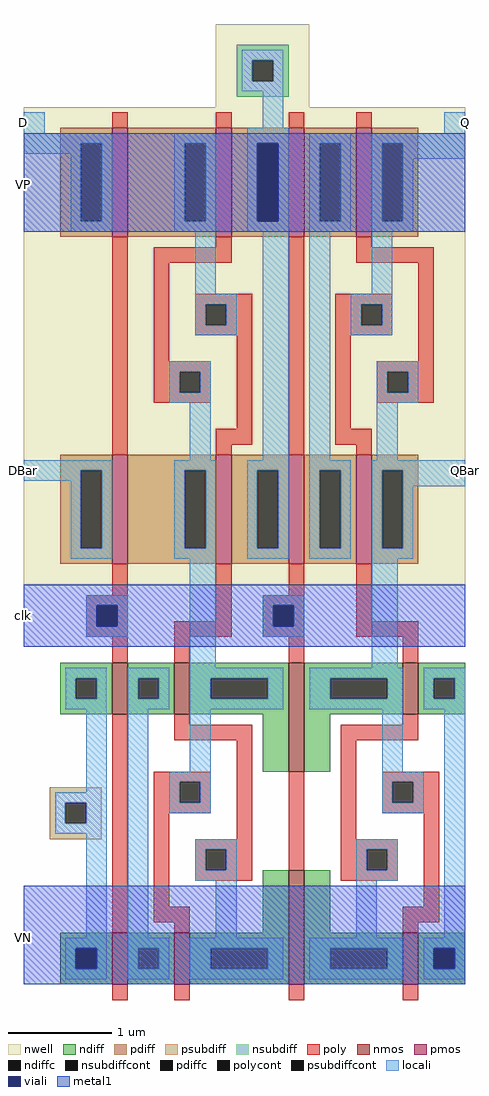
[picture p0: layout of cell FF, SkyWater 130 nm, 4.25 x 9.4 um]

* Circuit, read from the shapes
.subckt FF VP D Q QBar DBar clk VN
XM1 n1 clk VN VN sky130_fd_pr__nfet_01v8 w=0.5 l=0.15 m=2
XM2 n2 n3 n1 VN sky130_fd_pr__nfet_01v8 w=0.5 l=0.15
XM3 n3 n2 n1 VN sky130_fd_pr__nfet_01v8 w=0.5 l=0.15
XM4 Q clk n2 VN sky130_fd_pr__nfet_01v8 w=1.1 l=0.15
XM5 QBar clk n3 VN sky130_fd_pr__nfet_01v8 w=1.05 l=0.15
XM6 VN QBar Q VN sky130_fd_pr__nfet_01v8 w=0.5 l=0.15
XM7 VN Q QBar VN sky130_fd_pr__nfet_01v8 w=0.5 l=0.15
XM8 n3 clk DBar VP sky130_fd_pr__pfet_01v8 w=1.05 l=0.15
XM9 n2 clk D VP sky130_fd_pr__pfet_01v8 w=1.05 l=0.15
XM10 VP n2 n3 VP sky130_fd_pr__pfet_01v8 w=1.05 l=0.15
XM11 VP n3 n2 VP sky130_fd_pr__pfet_01v8 w=1.05 l=0.15
XM12 n4 clk VP VP sky130_fd_pr__pfet_01v8 w=1.05 l=0.15 m=2
XM13 QBar Q n4 VP sky130_fd_pr__pfet_01v8 w=1.05 l=0.15
XM14 Q QBar n4 VP sky130_fd_pr__pfet_01v8 w=1.05 l=0.15
.ends

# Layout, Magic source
magic
tech sky130A
<< nwell >>
rect 90 530 180 610
rect -95 70 330 530
<< nmos >>
rect -10 -55 5 -5
rect 50 -55 65 -5
rect 160 -110 175 -5
rect 270 -55 285 -5
rect -10 -315 5 -265
rect 50 -315 65 -265
rect 160 -315 175 -205
rect 270 -315 285 -265
<< pmos >>
rect -10 405 5 510
rect 90 405 105 510
rect 160 405 175 510
rect 225 405 240 510
rect -10 90 5 195
rect 90 90 105 195
rect 160 90 175 195
rect 225 90 240 195
<< ndiff >>
rect -60 -20 -10 -5
rect -60 -40 -45 -20
rect -25 -40 -10 -20
rect -60 -55 -10 -40
rect 5 -20 50 -5
rect 5 -40 15 -20
rect 35 -40 50 -20
rect 5 -55 50 -40
rect 65 -20 160 -5
rect 65 -40 85 -20
rect 140 -40 160 -20
rect 65 -55 160 -40
rect 135 -110 160 -55
rect 175 -20 270 -5
rect 175 -40 200 -20
rect 255 -40 270 -20
rect 175 -55 270 -40
rect 285 -20 330 -5
rect 285 -40 300 -20
rect 320 -40 330 -20
rect 285 -55 330 -40
rect 175 -110 200 -55
rect 135 -265 160 -205
rect -60 -280 -10 -265
rect -60 -300 -45 -280
rect -25 -300 -10 -280
rect -60 -315 -10 -300
rect 5 -280 50 -265
rect 5 -300 15 -280
rect 35 -300 50 -280
rect 5 -315 50 -300
rect 65 -280 160 -265
rect 65 -300 85 -280
rect 140 -300 160 -280
rect 65 -315 160 -300
rect 175 -265 200 -205
rect 175 -280 270 -265
rect 175 -300 200 -280
rect 255 -300 270 -280
rect 175 -315 270 -300
rect 285 -280 330 -265
rect 285 -300 300 -280
rect 320 -300 330 -280
rect 285 -315 330 -300
<< pdiff >>
rect -60 495 -10 510
rect -60 420 -40 495
rect -20 420 -10 495
rect -60 405 -10 420
rect 5 495 90 510
rect 5 420 60 495
rect 80 420 90 495
rect 5 405 90 420
rect 105 495 160 510
rect 105 420 130 495
rect 150 420 160 495
rect 105 405 160 420
rect 175 495 225 510
rect 175 420 190 495
rect 210 420 225 495
rect 175 405 225 420
rect 240 495 285 510
rect 240 420 250 495
rect 270 420 285 495
rect 240 405 285 420
rect -60 180 -10 195
rect -60 105 -40 180
rect -20 105 -10 180
rect -60 90 -10 105
rect 5 180 90 195
rect 5 105 60 180
rect 80 105 90 180
rect 5 90 90 105
rect 105 180 160 195
rect 105 105 130 180
rect 150 105 160 180
rect 105 90 160 105
rect 175 180 225 195
rect 175 105 190 180
rect 210 105 225 180
rect 175 90 225 105
rect 240 180 285 195
rect 240 105 250 180
rect 270 105 285 180
rect 240 90 285 105
<< ndiffc >>
rect -45 -40 -25 -20
rect 15 -40 35 -20
rect 85 -40 140 -20
rect 200 -40 255 -20
rect 300 -40 320 -20
rect -45 -300 -25 -280
rect 15 -300 35 -280
rect 85 -300 140 -280
rect 200 -300 255 -280
rect 300 -300 320 -280
<< pdiffc >>
rect -40 420 -20 495
rect 60 420 80 495
rect 130 420 150 495
rect 190 420 210 495
rect 250 420 270 495
rect -40 105 -20 180
rect 60 105 80 180
rect 130 105 150 180
rect 190 105 210 180
rect 250 105 270 180
<< psubdiff >>
rect -70 -140 -20 -125
rect -70 -160 -55 -140
rect -35 -160 -20 -140
rect -70 -175 -20 -160
<< nsubdiff >>
rect 110 575 160 590
rect 110 555 125 575
rect 145 555 160 575
rect 110 540 160 555
<< psubdiffcont >>
rect -55 -160 -35 -140
<< nsubdiffcont >>
rect 125 555 145 575
<< poly >>
rect -10 510 5 525
rect 90 510 105 525
rect 160 510 175 525
rect 225 510 240 525
rect -10 195 5 405
rect 90 395 105 405
rect 30 380 105 395
rect 30 285 45 380
rect 70 340 125 350
rect 70 320 80 340
rect 100 320 125 340
rect 70 310 125 320
rect 30 275 85 285
rect 30 255 55 275
rect 75 255 85 275
rect 30 245 85 255
rect 110 220 125 310
rect 90 205 125 220
rect 90 195 105 205
rect 160 195 175 405
rect 225 395 240 405
rect 225 380 300 395
rect 205 340 260 350
rect 205 320 230 340
rect 250 320 260 340
rect 205 310 260 320
rect 205 220 220 310
rect 285 285 300 380
rect 245 275 300 285
rect 245 255 255 275
rect 275 255 300 275
rect 245 245 300 255
rect 205 205 240 220
rect 225 195 240 205
rect -10 60 5 90
rect -35 50 5 60
rect -35 30 -25 50
rect -5 30 5 50
rect 90 35 105 90
rect 160 60 175 90
rect -35 20 5 30
rect -10 -5 5 20
rect 50 20 105 35
rect 135 50 175 60
rect 135 30 145 50
rect 165 30 175 50
rect 135 20 175 30
rect 225 35 240 90
rect 225 20 285 35
rect 50 -5 65 20
rect 160 -5 175 20
rect 270 -5 285 20
rect -10 -265 5 -55
rect 50 -65 65 -55
rect 50 -80 125 -65
rect 30 -120 85 -110
rect 30 -140 55 -120
rect 75 -140 85 -120
rect 30 -150 85 -140
rect 30 -240 45 -150
rect 110 -175 125 -80
rect 270 -65 285 -55
rect 210 -80 285 -65
rect 70 -185 125 -175
rect 70 -205 80 -185
rect 100 -205 125 -185
rect 160 -205 175 -110
rect 210 -175 225 -80
rect 250 -120 305 -110
rect 250 -140 260 -120
rect 280 -140 305 -120
rect 250 -150 305 -140
rect 210 -185 265 -175
rect 210 -205 235 -185
rect 255 -205 265 -185
rect 70 -215 125 -205
rect 30 -255 65 -240
rect 50 -265 65 -255
rect 210 -215 265 -205
rect 290 -240 305 -150
rect 270 -255 305 -240
rect 270 -265 285 -255
rect -10 -330 5 -315
rect 50 -330 65 -315
rect 160 -330 175 -315
rect 270 -330 285 -315
<< polycont >>
rect 80 320 100 340
rect 55 255 75 275
rect 230 320 250 340
rect 255 255 275 275
rect -25 30 -5 50
rect 145 30 165 50
rect 55 -140 75 -120
rect 80 -205 100 -185
rect 260 -140 280 -120
rect 235 -205 255 -185
<< locali >>
rect 115 575 155 585
rect 115 555 125 575
rect 145 555 155 575
rect 115 545 155 555
rect -95 505 -75 525
rect 135 510 155 545
rect -95 495 -10 505
rect -95 485 -40 495
rect -50 420 -40 485
rect -20 420 -10 495
rect -50 410 -10 420
rect 50 495 90 505
rect 50 420 60 495
rect 80 420 90 495
rect 50 410 90 420
rect 120 495 160 510
rect 310 505 330 525
rect 120 420 130 495
rect 150 420 160 495
rect 120 410 160 420
rect 70 350 90 410
rect 70 340 110 350
rect 70 320 80 340
rect 100 320 110 340
rect 70 310 110 320
rect 45 275 85 285
rect 45 255 55 275
rect 75 255 85 275
rect 45 245 85 255
rect 65 190 85 245
rect 135 190 160 410
rect -95 180 -10 190
rect -95 170 -40 180
rect -50 105 -40 170
rect -20 105 -10 180
rect -50 95 -10 105
rect 50 180 90 190
rect 50 105 60 180
rect 80 105 90 180
rect 50 95 90 105
rect 120 180 160 190
rect 120 105 130 180
rect 150 105 160 180
rect 120 95 160 105
rect 180 495 220 505
rect 180 420 190 495
rect 210 420 220 495
rect 180 410 220 420
rect 240 495 330 505
rect 240 420 250 495
rect 270 480 330 495
rect 270 420 280 480
rect 240 410 280 420
rect 180 190 200 410
rect 240 350 260 410
rect 220 340 260 350
rect 220 320 230 340
rect 250 320 260 340
rect 220 310 260 320
rect 245 275 285 285
rect 245 255 255 275
rect 275 255 285 275
rect 245 245 285 255
rect 245 190 265 245
rect 180 180 220 190
rect 180 105 190 180
rect 210 105 220 180
rect 180 95 220 105
rect 240 180 330 190
rect 240 105 250 180
rect 270 165 330 180
rect 270 105 280 165
rect 240 95 280 105
rect -35 50 5 60
rect -35 30 -25 50
rect -5 30 5 50
rect -35 20 5 30
rect 65 -10 90 95
rect 135 50 175 60
rect 135 30 145 50
rect 165 30 175 50
rect 135 20 175 30
rect 240 -10 265 95
rect -55 -20 -15 -10
rect -55 -40 -45 -20
rect -25 -40 -15 -20
rect -55 -50 -15 -40
rect -35 -130 -15 -50
rect -65 -140 -15 -130
rect -65 -160 -55 -140
rect -35 -160 -15 -140
rect -65 -170 -15 -160
rect -35 -270 -15 -170
rect -55 -280 -15 -270
rect -55 -300 -45 -280
rect -25 -300 -15 -280
rect -55 -310 -15 -300
rect 5 -20 45 -10
rect 5 -40 15 -20
rect 35 -40 45 -20
rect 5 -50 45 -40
rect 65 -20 155 -10
rect 65 -40 85 -20
rect 140 -40 155 -20
rect 65 -50 155 -40
rect 180 -20 270 -10
rect 180 -40 200 -20
rect 255 -40 270 -20
rect 180 -50 270 -40
rect 290 -20 330 -10
rect 290 -40 300 -20
rect 320 -40 330 -20
rect 290 -50 330 -40
rect 5 -270 25 -50
rect 65 -110 85 -50
rect 45 -120 85 -110
rect 45 -140 55 -120
rect 75 -140 85 -120
rect 45 -150 85 -140
rect 250 -110 270 -50
rect 250 -120 290 -110
rect 250 -140 260 -120
rect 280 -140 290 -120
rect 250 -150 290 -140
rect 70 -185 110 -175
rect 70 -205 80 -185
rect 100 -205 110 -185
rect 70 -215 110 -205
rect 90 -270 110 -215
rect 225 -185 265 -175
rect 225 -205 235 -185
rect 255 -205 265 -185
rect 225 -215 265 -205
rect 225 -270 245 -215
rect 310 -270 330 -50
rect 5 -280 45 -270
rect 5 -300 15 -280
rect 35 -300 45 -280
rect 5 -310 45 -300
rect 65 -280 155 -270
rect 65 -300 85 -280
rect 140 -300 155 -280
rect 65 -310 155 -300
rect 180 -280 270 -270
rect 180 -300 200 -280
rect 255 -300 270 -280
rect 180 -310 270 -300
rect 290 -280 330 -270
rect 290 -300 300 -280
rect 320 -300 330 -280
rect 290 -310 330 -300
<< viali >>
rect 130 420 150 495
rect -25 30 -5 50
rect 145 30 165 50
rect -45 -300 -25 -280
rect 300 -300 320 -280
<< metal1 >>
rect -95 495 330 505
rect -95 420 130 495
rect 150 420 330 495
rect -95 410 330 420
rect -95 50 330 70
rect -95 30 -25 50
rect -5 30 145 50
rect 165 30 330 50
rect -95 10 330 30
rect -95 -280 330 -220
rect -95 -300 -45 -280
rect -25 -300 300 -280
rect 320 -300 330 -280
rect -95 -315 330 -300
<< labels >>
rlabel metal1 -95 40 -95 40 7 clk
port 6 w
rlabel metal1 -95 -270 -95 -270 7 VN
port 7 w
rlabel locali 330 515 330 515 3 Q
port 3 e
rlabel metal1 -95 455 -95 455 7 VP
port 1 w
rlabel locali -95 515 -95 515 7 D
port 2 w
rlabel locali 330 180 330 180 3 QBar
port 4 e
rlabel locali -95 180 -95 180 7 DBar
port 5 w
<< end >>
